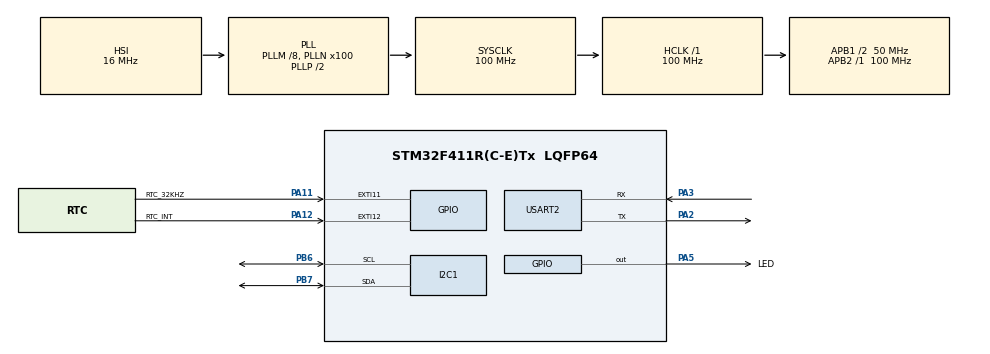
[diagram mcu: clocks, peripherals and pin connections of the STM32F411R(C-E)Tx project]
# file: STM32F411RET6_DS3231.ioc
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Mcu.Family=STM32F4
Mcu.Name=STM32F411R(C-E)Tx
Mcu.Package=LQFP64
NVIC.EXTI15_10_IRQn=true\:0\:0\:false\:false\:true\:true\:true\:true
NVIC.I2C1_ER_IRQn=true\:0\:0\:false\:false\:true\:true\:true\:true
NVIC.I2C1_EV_IRQn=true\:0\:0\:false\:false\:true\:true\:true\:true
NVIC.PriorityGroup=NVIC_PRIORITYGROUP_4
NVIC.RCC_IRQn=true\:0\:0\:false\:false\:true\:true\:false\:true
PA11.GPIO_Label=RTC_32KHZ
PA11.GPIO_ModeDefaultEXTI=GPIO_MODE_IT_FALLING
PA11.GPIO_PuPd=GPIO_PULLUP
PA11.Signal=GPXTI11
PA12.GPIO_Label=RTC_INT
PA12.GPIO_ModeDefaultEXTI=GPIO_MODE_IT_FALLING
PA12.GPIO_PuPd=GPIO_PULLUP
PA12.Signal=GPXTI12
PA2.Mode=Asynchronous
PA2.Signal=USART2_TX
PA3.Mode=Asynchronous
PA3.Signal=USART2_RX
PA5.GPIO_Label=LED
PA5.Signal=GPIO_Output
PB6.Mode=I2C
PB6.Signal=I2C1_SCL
PB7.Mode=I2C
PB7.Signal=I2C1_SDA
PH0\ -\ OSC_IN.Mode=HSE-External-Oscillator
PH0\ -\ OSC_IN.Signal=RCC_OSC_IN
PH1\ -\ OSC_OUT.Mode=HSE-External-Oscillator
PH1\ -\ OSC_OUT.Signal=RCC_OSC_OUT
ProjectManager.HeapSize=0x200
ProjectManager.StackSize=0x400
ProjectManager.TargetToolchain=STM32CubeIDE
RCC.48MHZClocksFreq_Value=50000000
RCC.AHBFreq_Value=100000000
RCC.APB1CLKDivider=RCC_HCLK_DIV2
RCC.APB1Freq_Value=50000000
RCC.APB1TimFreq_Value=100000000
RCC.APB2Freq_Value=100000000
RCC.APB2TimFreq_Value=100000000
RCC.CortexFreq_Value=100000000
RCC.HCLKFreq_Value=100000000
RCC.HSE_VALUE=8000000
RCC.HSI_VALUE=16000000
RCC.LSE_VALUE=32768
RCC.PLLM=8
RCC.PLLN=100
RCC.SYSCLKFreq_VALUE=100000000
RCC.SYSCLKSource=RCC_SYSCLKSOURCE_PLLCLK
RCC.VCOOutputFreq_Value=200000000
USART2.VirtualMode=VM_ASYNC
board=custom

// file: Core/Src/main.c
/* USER CODE BEGIN Header */
/**
 ******************************************************************************
 * @file           : main.c
 * @brief          : Main program body
 ******************************************************************************
 * @attention
 *
 * Copyright (c) 2024 STMicroelectronics.
 * All rights reserved.
 *
 * This software is licensed under terms that can be found in the LICENSE file
 * in the root directory of this software component.
 * If no LICENSE file comes with this software, it is provided AS-IS.
 *
 ******************************************************************************
 */
/* USER CODE END Header */
#include "main.h"

/* USER CODE BEGIN Includes */
#define PLATFORM_STM32_HAL
#include <cstring>
#include <xuart.h>
#include <i2cscanner.h>
#include <clock/DS3231.h>
/* USER CODE END Includes */

/* USER CODE BEGIN PD */

// set to not 0 to run unit test
#define DS3231_FULL_TEST 0

/* USER CODE END PD */

I2C_HandleTypeDef hi2c1;

UART_HandleTypeDef huart2;

void SystemClock_Config(void);
static void MX_GPIO_Init(void);
static void MX_I2C1_Init(void);
static void MX_USART2_UART_Init(void);
/* USER CODE BEGIN PFP */
I2CPollingModeMaster i2cInstance(&hi2c1);
DS3231 ds(&i2cInstance, DS3231::DS3231_I2CAddress);
bool clockInterrupt = false; // for alarm, pin PA12
uint32_t clock32 = 0;
char buf[100];

void HAL_GPIO_EXTI_Callback(uint16_t GPIO_Pin)
{
    switch (GPIO_Pin) {
    case RTC_INT_Pin:
        clockInterrupt = true;
        break;
    case RTC_32KHZ_Pin:
        clock32++;
        break;
    default:
        break;
    }
}

void setClockAlarm(DS3231 &ds)
{
    ds.setAlarm2MinuteMatch(0);
    ds.setAlarm1SecondMatch(18);
    ds.setAlarm2Enabled(false);
}

void printTime(DS3231 &ds, UARTLogger &logger)
{
    auto t = ds.dateTime();
    sprintf(buf,
            "%d c, %02d.%02d.%02d %02d:%02d:%02d, pm=%d, asAMPM=%d, wd=%d\r\n",
            t.century, t.day, t.month, t.year, t.hour, t.minute, t.second,
            t.pm, t.asAMPM, t.dayOfWeek);
    logger.write(buf);
}
/* USER CODE END PFP */

int main(void)
{

  /* MCU Configuration--------------------------------------------------------*/

  /* Reset of all peripherals, Initializes the Flash interface and the Systick. */
  HAL_Init();

  /* Configure the system clock */
  SystemClock_Config();

  /* Initialize all configured peripherals */
  MX_GPIO_Init();
  MX_I2C1_Init();
  MX_USART2_UART_Init();
  /* USER CODE BEGIN 2 */
    UARTLogger logger(&huart2);
    uint8_t ic = I2CScanner::enumerate(&hi2c1, [&](auto addr) {
        logger.writeLine("I2C device found at address %#2X", addr);
    });
    logger.writeLine("%d I2C devices found", ic);

#if DS3231_FULL_TEST
    // The complex test of DS3231 class

    /*** WARNING: the value of the DS3231 clock will be overwritten ***/

    logger.writeLine("** Set and check values test case ***");
    DS3231DateTime
    t { .second = 0, .minute = 44, .hour = 15, .dayOfWeek = 7, .day = 30,
            .month = 3, .year = 24, .century = 1, .pm = 0, .asAMPM = 0, };

    ds.setDateTime(t);
    Delay::wait(500);
    // second now must be 0..2 but not more than 5
    logger.xassert(ds.second() - t.second < 5, "Second not match");
    logger.xassert(ds.minute() == t.minute, "Minute not match");
    logger.xassert(ds.hour() == t.hour, "Hour not match");
    logger.xassert(ds.dayOfWeek() == t.dayOfWeek, "Day of week not match");
    logger.xassert(ds.day() == t.day, "Day not match");
    logger.xassert(ds.month() == t.month, "Month not match");
    logger.xassert(ds.year() == t.year, "Year not match");
    logger.xassert(ds.century() == t.century, "Century not match");
    logger.xassert(ds.asAMPM() == t.asAMPM, "asAMPM not match");
    logger.xassert(ds.pm() == t.pm, "pm not match");

    logger.writeLine("** Checking each function test case ***");
    // check each function
    //
    struct DS3231DateTime
        t2 { .second = 10, .minute = 14, .hour = 5, .dayOfWeek = 2, .day = 1,
                .month = 6, .year = 4, .century = 1, .pm = 1, .asAMPM = 1, };
    ds.setHour(t2.hour, t2.asAMPM, t2.pm);
    Delay::wait(200);
    logger.xassert(ds.hour() == t2.hour, "Hour not match");
    logger.xassert(ds.asAMPM() == t2.asAMPM, "asAMPM not match");
    logger.xassert(ds.pm() == t2.pm, "pm not match");
    ds.setSecond(t2.second);
    Delay::wait(200);
    logger.xassert(ds.second() - t2.second < 5, "Second not match");
    ds.setMinute(t2.minute);
    Delay::wait(200);
    logger.xassert(ds.minute() == t2.minute, "Minute not match");
    ds.setDayOfWeek(t2.dayOfWeek);
    Delay::wait(200);
    logger.xassert(ds.dayOfWeek() == t2.dayOfWeek, "Day of week not match");
    ds.setDay(t2.day);
    Delay::wait(200);
    logger.xassert(ds.day() == t2.day, "Day not match");
    ds.setMonth(t2.month);
    Delay::wait(200);
    logger.xassert(ds.month() == t2.month, "Month not match");
    ds.setYear(t2.year);
    Delay::wait(200);
    logger.xassert(ds.year() == t2.year, "Year not match");
    ds.setCentury(t2.century);
    Delay::wait(200);
    logger.xassert(ds.century() == t2.century, "Century not match");

    logger.writeLine("** AM/PM switch test case ***");
    //printTime(ds, logger);

    ds.switchTo24();
    Delay::wait(200);
    // printTime(ds, logger);
    logger.xassert(ds.hour() == t2.hour + 12, "Hour not match: %lu!=%lu", ds.hour(), t2.hour + 12);
    logger.xassert(ds.asAMPM() == false, "asAMPM->0 not match");
    logger.xassert(ds.pm() == false, "pm->0 not match");
    ds.switchToAMPM();
    Delay::wait(200);
    logger.xassert(ds.hour() == t2.hour, "Hour not match");
    logger.xassert(ds.asAMPM() == t2.asAMPM, "asAMPM->1 not match");
    logger.xassert(ds.pm() == t2.pm, "pm->1 not match");

    ds.set32kHzEnabled(true);
    Delay::wait(200);
    logger.xassert(ds.is32kHzEnabled() == true, "32kHz != true");

    ds.set32kHzEnabled(false);
    Delay::wait(200);
    logger.xassert(ds.is32kHzEnabled() == false, "32kHz != false");

    ds.setRate(2);
    Delay::wait(200);
    logger.xassert(ds.rate() == 2, "rate != 2");

    ds.setBatteryBackedSquareWaveEnabled(true);
    Delay::wait(200);
    logger.xassert(ds.batteryBackedSquareWaveEnabled() == true, "BBSW != true");

    ds.setBatteryBackedSquareWaveEnabled(false);
    Delay::wait(200);
    logger.xassert(ds.batteryBackedSquareWaveEnabled() == false, "BBSW != false");

    ds.setConvertTemperature(true);
    Delay::wait(200);
    logger.xassert(ds.convertTemperatureEnabled() == true, "convT != true");

    ds.setConvertTemperature(false);
    Delay::wait(200);
    logger.xassert(ds.convertTemperatureEnabled() == false, "convT != false");

    ds.setInterruptEnabled(true);
    Delay::wait(200);
    logger.xassert(ds.interruptEnabled() == true, "INT != true");

    ds.setInterruptEnabled(false);
    Delay::wait(200);
    logger.xassert(ds.interruptEnabled() == false, "INT != false");

    uint8_t a0 = ds.aging();
    uint8_t a1 = 25;
    ds.setAging(a1);
    Delay::wait(200);
    logger.xassert(ds.aging() == a1, "Set aging1 failed");

    ds.setAging(a0);
    Delay::wait(200);
    logger.xassert(ds.aging() == a0, "Set aging backward failed");

    /*** END OF TEST SUITE ***/
    // some demo methods
    ds.clear();
    ds.setDateTime(t);
    ds.setRate(0);
#endif // DS3231_FULL_TEST
    setClockAlarm(ds);
    // disable 32kHz to prevent false alarm
    ds.set32kHzEnabled(false);
    clock32 = 0;
  /* USER CODE END 2 */

  /* Infinite loop */
    while (1) {

    /* USER CODE BEGIN 3 */
        auto t = ds.dateTime();
        auto temp = ds.temperature();
        sprintf(buf,
                "%d c, %02d.%02d.%02d %02d:%02d:%02d, pm=%d, asAMPM=%d, wd=%d; t=%d.%02d, 32kHz=%lu\r\n",
                t.century, t.day, t.month, t.year, t.hour, t.minute, t.second,
                t.pm, t.asAMPM, t.dayOfWeek, temp / 100, (temp < 0 ? -temp : temp) % 100,
                clock32);
        //logger.write(buf);
        if (clockInterrupt) {
            HAL_GPIO_TogglePin(LED_GPIO_Port, LED_Pin);
            logger.write(buf);
            logger.writeLine("Interrupt PA12/Clock");
            clockInterrupt = false;
            setClockAlarm(ds); // reset the alarm if we want to reuse it
        }
        HAL_Delay(1000);
    }
  /* USER CODE END 3 */
}

void SystemClock_Config(void)
{
  RCC_OscInitTypeDef RCC_OscInitStruct = {0};
  RCC_ClkInitTypeDef RCC_ClkInitStruct = {0};

  /** Configure the main internal regulator output voltage
  */
  __HAL_RCC_PWR_CLK_ENABLE();
  __HAL_PWR_VOLTAGESCALING_CONFIG(PWR_REGULATOR_VOLTAGE_SCALE1);

  /** Initializes the RCC Oscillators according to the specified parameters
  * in the RCC_OscInitTypeDef structure.
  */
  RCC_OscInitStruct.OscillatorType = RCC_OSCILLATORTYPE_HSI;
  RCC_OscInitStruct.HSIState = RCC_HSI_ON;
  RCC_OscInitStruct.HSICalibrationValue = RCC_HSICALIBRATION_DEFAULT;
  RCC_OscInitStruct.PLL.PLLState = RCC_PLL_ON;
  RCC_OscInitStruct.PLL.PLLSource = RCC_PLLSOURCE_HSI;
  RCC_OscInitStruct.PLL.PLLM = 8;
  RCC_OscInitStruct.PLL.PLLN = 100;
  RCC_OscInitStruct.PLL.PLLP = RCC_PLLP_DIV2;
  RCC_OscInitStruct.PLL.PLLQ = 4;
  if (HAL_RCC_OscConfig(&RCC_OscInitStruct) != HAL_OK)
  {
    Error_Handler();
  }

  /** Initializes the CPU, AHB and APB buses clocks
  */
  RCC_ClkInitStruct.ClockType = RCC_CLOCKTYPE_HCLK|RCC_CLOCKTYPE_SYSCLK
                              |RCC_CLOCKTYPE_PCLK1|RCC_CLOCKTYPE_PCLK2;
  RCC_ClkInitStruct.SYSCLKSource = RCC_SYSCLKSOURCE_PLLCLK;
  RCC_ClkInitStruct.AHBCLKDivider = RCC_SYSCLK_DIV1;
  RCC_ClkInitStruct.APB1CLKDivider = RCC_HCLK_DIV2;
  RCC_ClkInitStruct.APB2CLKDivider = RCC_HCLK_DIV1;

  if (HAL_RCC_ClockConfig(&RCC_ClkInitStruct, FLASH_LATENCY_3) != HAL_OK)
  {
    Error_Handler();
  }
}

static void MX_I2C1_Init(void)
{

  hi2c1.Instance = I2C1;
  hi2c1.Init.ClockSpeed = 100000;
  hi2c1.Init.DutyCycle = I2C_DUTYCYCLE_2;
  hi2c1.Init.OwnAddress1 = 0;
  hi2c1.Init.AddressingMode = I2C_ADDRESSINGMODE_7BIT;
  hi2c1.Init.DualAddressMode = I2C_DUALADDRESS_DISABLE;
  hi2c1.Init.OwnAddress2 = 0;
  hi2c1.Init.GeneralCallMode = I2C_GENERALCALL_DISABLE;
  hi2c1.Init.NoStretchMode = I2C_NOSTRETCH_DISABLE;
  if (HAL_I2C_Init(&hi2c1) != HAL_OK)
  {
    Error_Handler();
  }

}

static void MX_USART2_UART_Init(void)
{

  huart2.Instance = USART2;
  huart2.Init.BaudRate = 115200;
  huart2.Init.WordLength = UART_WORDLENGTH_8B;
  huart2.Init.StopBits = UART_STOPBITS_1;
  huart2.Init.Parity = UART_PARITY_NONE;
  huart2.Init.Mode = UART_MODE_TX_RX;
  huart2.Init.HwFlowCtl = UART_HWCONTROL_NONE;
  huart2.Init.OverSampling = UART_OVERSAMPLING_16;
  if (HAL_UART_Init(&huart2) != HAL_OK)
  {
    Error_Handler();
  }

}

static void MX_GPIO_Init(void)
{
  GPIO_InitTypeDef GPIO_InitStruct = {0};

  /* GPIO Ports Clock Enable */
  __HAL_RCC_GPIOH_CLK_ENABLE();
  __HAL_RCC_GPIOA_CLK_ENABLE();
  __HAL_RCC_GPIOB_CLK_ENABLE();

  /*Configure GPIO pin Output Level */
  HAL_GPIO_WritePin(LED_GPIO_Port, LED_Pin, GPIO_PIN_RESET);

  /*Configure GPIO pin : LED_Pin */
  GPIO_InitStruct.Pin = LED_Pin;
  GPIO_InitStruct.Mode = GPIO_MODE_OUTPUT_PP;
  GPIO_InitStruct.Pull = GPIO_NOPULL;
  GPIO_InitStruct.Speed = GPIO_SPEED_FREQ_LOW;
  HAL_GPIO_Init(LED_GPIO_Port, &GPIO_InitStruct);

  /*Configure GPIO pins : RTC_32KHZ_Pin RTC_INT_Pin */
  GPIO_InitStruct.Pin = RTC_32KHZ_Pin|RTC_INT_Pin;
  GPIO_InitStruct.Mode = GPIO_MODE_IT_FALLING;
  GPIO_InitStruct.Pull = GPIO_PULLUP;
  HAL_GPIO_Init(GPIOA, &GPIO_InitStruct);

  /* EXTI interrupt init*/
  HAL_NVIC_SetPriority(EXTI15_10_IRQn, 0, 0);
  HAL_NVIC_EnableIRQ(EXTI15_10_IRQn);

}

void Error_Handler(void)
{
    __disable_irq();
    while (1) {
    }
}
